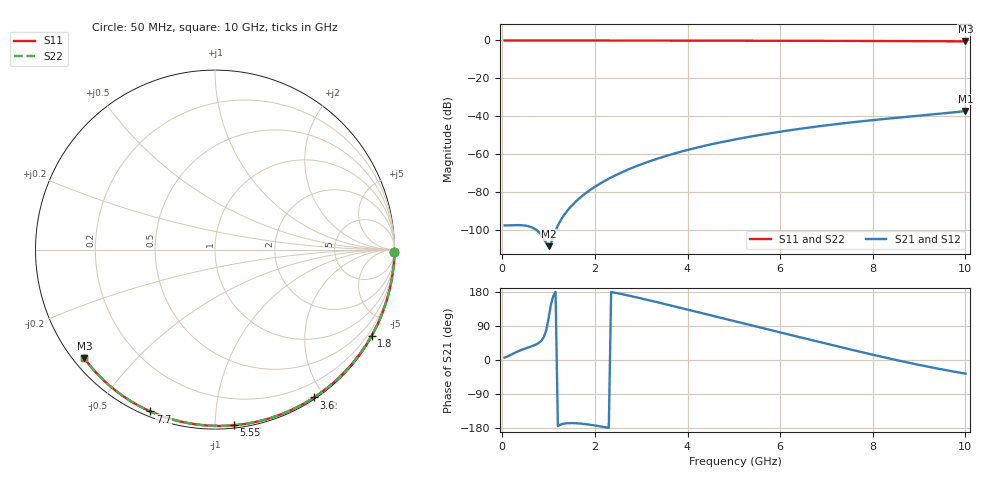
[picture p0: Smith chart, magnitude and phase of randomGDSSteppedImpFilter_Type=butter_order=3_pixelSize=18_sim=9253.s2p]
! freq	dB(S11)	phase(S11)	dB(S12)	phase(S12)
!  dB(S21)	phase(S21)	dB(S22)	phase(S22)
!S-par simulation data
#  GHz  S  DB  R 50
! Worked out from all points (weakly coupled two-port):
!   200 points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, 50 MHz to 10 GHz, reference 50 ohm
!   highest |S21| = -37.19 dB at 10 GHz (marker M1); lowest = -108.3 dB at 1 GHz (marker M2)
!   lowest |S11| = -0.5 dB at 10 GHz (marker M3), VSWR 36.65, Z = 1.54 - j18.1 ohm
!   |S11| at or under -10 dB: nowhere
!   |S22| runs from -0.5 to 0.0 dB; largest |S21 - S12| = 0
!   S11 on the Smith chart (normalised r, x): 50 MHz: open; 1.8 GHz: 0.03, -3.90; 3.6 GHz: 0.02, -1.87; 5.55 GHz: 0.02, -1.11; 7.7 GHz: 0.02, -0.68; 10 GHz: 0.03, -0.36
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0.05  -0.00 -0.8  -97.41 6.2  -97.41 6.2  -0.00 -0.8
0.5  -0.01 -8.1  -97.52 30.4  -97.52 30.4  -0.01 -8.1
1  -0.02 -16.1  -108.33 109.9  -108.33 109.9  -0.02 -16.1
1.75  -0.04 -28.0  -81.39 -168.5  -81.39 -168.5  -0.04 -28.0
1.8  -0.04 -28.8  -80.44 -169.2  -80.44 -169.2  -0.04 -28.8
1.85  -0.04 -29.6  -79.54 -170.0  -79.54 -170.0  -0.04 -29.6
2.05  -0.04 -32.7  -76.27 -173.7  -76.27 -173.7  -0.04 -32.7
2.25  -0.05 -35.8  -73.44 -178.0  -73.44 -178.0  -0.05 -35.8
2.55  -0.05 -40.4  -69.78 174.6  -69.78 174.6  -0.05 -40.4
2.95  -0.06 -46.5  -65.68 163.9  -65.68 163.9  -0.06 -46.5
3.4  -0.07 -53.2  -61.85 150.9  -61.85 150.9  -0.07 -53.2
3.6  -0.08 -56.2  -60.35 145.0  -60.35 145.0  -0.08 -56.2
3.9  -0.08 -60.6  -58.29 136.0  -58.29 136.0  -0.08 -60.6
4.3  -0.09 -66.4  -55.86 123.9  -55.86 123.9  -0.09 -66.4
5.05  -0.12 -76.9  -52.00 101.3  -52.00 101.3  -0.12 -76.9
5.55  -0.14 -83.8  -49.82 86.3  -49.82 86.3  -0.14 -83.8
6.1  -0.16 -91.2  -47.68 69.9  -47.68 69.9  -0.16 -91.2
6.7  -0.19 -99.0  -45.62 52.0  -45.62 52.0  -0.19 -99.0
7.7  -0.26 -111.8  -42.72 22.5  -42.72 22.5  -0.26 -111.8
8.35  -0.31 -119.9  -41.12 4.2  -41.12 4.2  -0.31 -119.9
9.2  -0.39 -130.4  -39.18 -17.9  -39.18 -17.9  -0.39 -130.4
10  -0.47 -140.2  -37.19 -35.9  -37.19 -35.9  -0.47 -140.2
